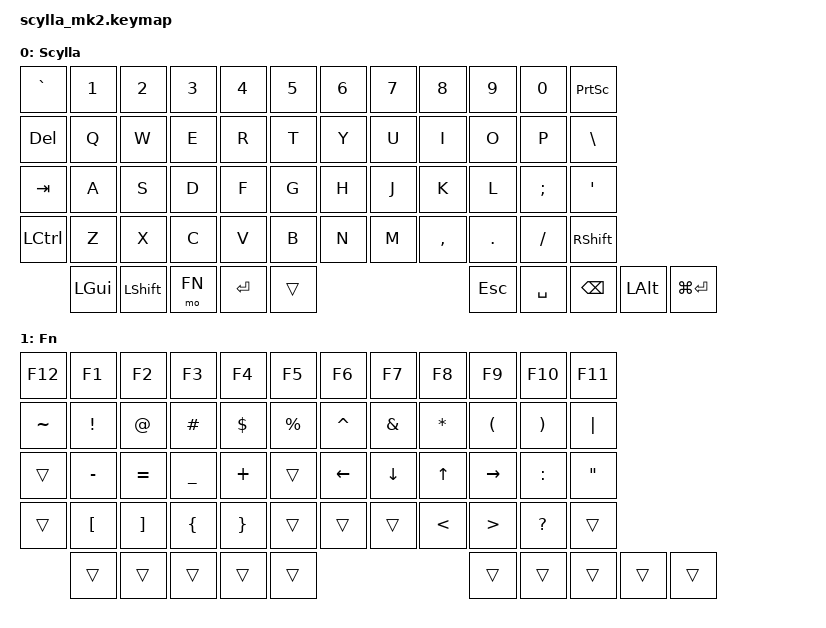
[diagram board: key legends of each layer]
/*
 * Copyright (c) 2020 The ZMK Contributors
 * Scylla MK2
 * SPDX-License-Identifier: MIT
 */

#include <behaviors.dtsi>
#include <dt-bindings/zmk/bt.h>
#include <dt-bindings/zmk/keys.h>

#define FN 1

/ {
    keymap {
        compatible = "zmk,keymap";

        scylla_mk2_layer {
            label = "Scylla";
            bindings = <
&kp GRAVE   &kp N1  &kp N2  &kp N3  &kp N4  &kp N5  &kp N6  &kp N7  &kp N8     &kp N9   &kp N0    &kp PSCRN
&kp DEL     &kp Q   &kp W   &kp E   &kp R   &kp T   &kp Y   &kp U   &kp I      &kp O    &kp P     &kp BSLH
&kp TAB     &kp A   &kp S   &kp D   &kp F   &kp G   &kp H   &kp J   &kp K      &kp L    &kp SEMI  &kp SQT
&kp LCTRL   &kp Z   &kp X   &kp C   &kp V   &kp B   &kp N   &kp M   &kp COMMA  &kp DOT  &kp FSLH  &kp RSHFT
            &kp LGUI  &kp LEFT_SHIFT  &mo FN  &kp ENTER  &trans  &kp ESC  &kp SPACE  &kp BACKSPACE  &kp LALT  &kp LG(ENTER)
            >;
        };

        fn_layer {
            label = "Fn";
            bindings = <
&kp F12    &kp F1    &kp F2     &kp F3     &kp F4     &kp F5     &kp F6     &kp F7     &kp F8     &kp F9     &kp F10    &kp F11
&kp TILDE  &kp EXCL  &kp AT     &kp HASH   &kp DLLR   &kp PRCNT  &kp CARET  &kp AMPS   &kp STAR   &kp LPAR   &kp RPAR   &kp PIPE
&trans     &kp MINUS &kp EQUAL  &kp UNDER  &kp PLUS   &trans     &kp LEFT   &kp DOWN   &kp UP     &kp RIGHT  &kp COLON  &kp DQT
&trans     &kp LBKT  &kp RBKT   &kp LBRC   &kp RBRC   &trans     &trans     &trans     &kp LT     &kp GT     &kp QMARK  &trans
           &trans    &trans     &trans     &trans     &trans     &trans     &trans     &trans     &trans     &trans
            >;
        };
    };
};
